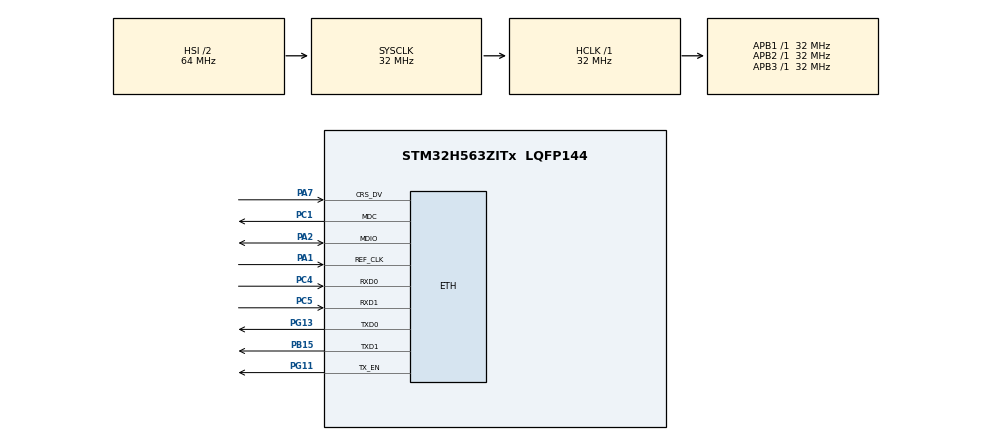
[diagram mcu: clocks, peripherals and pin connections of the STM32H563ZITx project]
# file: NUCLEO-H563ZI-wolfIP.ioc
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BOOTPATH.BootPathName=LEGACY
BOOTPATH.UserSelectedBootPath=LEGACY
CORTEX_M33_NS.userName=CORTEX_M33
ETH.MediaInterface=HAL_ETH_RMII_MODE
Mcu.Family=STM32H5
Mcu.Name=STM32H563ZITx
Mcu.Package=LQFP144
NVIC.ETH_IRQn=true\:0\:0\:false\:false\:true\:true\:true\:true
NVIC.PriorityGroup=NVIC_PRIORITYGROUP_4
PA1.Mode=RMII
PA1.Signal=ETH_REF_CLK
PA2.Mode=RMII
PA2.Signal=ETH_MDIO
PA7.Mode=RMII
PA7.Signal=ETH_CRS_DV
PB15.Mode=RMII
PB15.Signal=ETH_TXD1
PC1.Mode=RMII
PC1.Signal=ETH_MDC
PC4.Mode=RMII
PC4.Signal=ETH_RXD0
PC5.Mode=RMII
PC5.Signal=ETH_RXD1
PG11.Mode=RMII
PG11.Signal=ETH_TX_EN
PG13.Mode=RMII
PG13.Signal=ETH_TXD0
ProjectManager.HeapSize=0x200
ProjectManager.StackSize=0x400
ProjectManager.TargetToolchain=Makefile
RCC.ADCFreq_Value=32000000
RCC.AHBFreq_Value=32000000
RCC.APB1Freq_Value=32000000
RCC.APB1TimFreq_Value=32000000
RCC.APB2Freq_Value=32000000
RCC.APB2TimFreq_Value=32000000
RCC.APB3Freq_Value=32000000
RCC.CSI_VALUE=4000000
RCC.CortexFreq_Value=32000000
RCC.EPOD_VALUE=4000000
RCC.HCLKFreq_Value=32000000
RCC.HSE_VALUE=25000000
RCC.HSI48_VALUE=48000000
RCC.HSI_VALUE=64000000
RCC.LSE_VALUE=32768
RCC.LSIRC_VALUE=32000
RCC.SYSCLKFreq_VALUE=32000000
RCC.USBFreq_Value=48000000
RCC.VCOOutputFreq_Value=516000000
VP_BOOTPATH_VS_BOOTPATH.Mode=BP_Activate
VP_CORTEX_M33_NS_VS_Hclk.Mode=Hclk_Mode
VP_MEMORYMAP_VS_MEMORYMAP.Mode=CurAppReg
VP_PWR_VS_LPOM.Mode=PowerOptimisation
VP_PWR_VS_SECSignals.Mode=Security/Privilege
VP_wolfSSL.I-CUBE-wolfIP_VS_wolfIPJjwolfIP_1.0.0_1.0.0.Mode=wolfIPJjwolfIP
board=custom
wolfSSL.I-CUBE-wolfIP.1.0.0.wolfIPCcwolfIPJjwolfIPJjCore=true
wolfSSL.I-CUBE-wolfIP.1.0.0.wolfIPCcwolfIPJjwolfIPJjHTTP=true

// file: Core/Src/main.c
/* USER CODE BEGIN Header */
/**
  ******************************************************************************
  * @file           : main.c
  * @brief          : Main program body
  ******************************************************************************
  * @attention
  *
  * Copyright (c) 2026 STMicroelectronics.
  * All rights reserved.
  *
  * This software is licensed under terms that can be found in the LICENSE file
  * in the root directory of this software component.
  * If no LICENSE file comes with this software, it is provided AS-IS.
  *
  ******************************************************************************
  */
/* USER CODE END Header */
#include "main.h"
#include "string.h"

/* USER CODE BEGIN Includes */
#include "wolfip.h"
#include "stm32h5_eth.h"
/* USER CODE END Includes */

ETH_TxPacketConfigTypeDef TxConfig;
ETH_DMADescTypeDef  DMARxDscrTab[ETH_RX_DESC_CNT]; /* Ethernet Rx DMA Descriptors */
ETH_DMADescTypeDef  DMATxDscrTab[ETH_TX_DESC_CNT]; /* Ethernet Tx DMA Descriptors */

ETH_HandleTypeDef heth;

/* USER CODE BEGIN PV */
/* wolfIP instance - use static allocation from the library */
static struct wolfIP *ipstack = NULL;

/* IP configuration - static IP for testing */
/* Network: 192.168.0.x (Mac is at 192.168.0.116) */
#define MY_IP      atoip4("192.168.0.200")
#define MY_MASK    atoip4("255.255.255.0")
#define MY_GATEWAY atoip4("192.168.0.1")
/* USER CODE END PV */

void SystemClock_Config(void);
static void MX_GPIO_Init(void);
static void MX_ETH_Init(void);
/* USER CODE BEGIN PFP */
uint64_t wolfip_get_time_ms(void);
uint32_t wolfIP_getrandom(void);
/* USER CODE END PFP */

int main(void)
{

  /* MCU Configuration--------------------------------------------------------*/

  /* Reset of all peripherals, Initializes the Flash interface and the Systick. */
  HAL_Init();

  /* Configure the system clock */
  SystemClock_Config();

  /* Initialize all configured peripherals */
  MX_GPIO_Init();
  MX_ETH_Init();
  /* USER CODE BEGIN 2 */
  /* Initialize wolfIP stack using static allocation */
  wolfIP_init_static(&ipstack);

  /* Use bare-metal Ethernet driver (proven to work) */
  {
    int ret;
    struct wolfIP_ll_dev *ll = wolfIP_getdev(ipstack);
    if (ll != NULL)
    {
      /* Initialize bare-metal Ethernet driver */
      ret = stm32h5_eth_init(ll, NULL);
      (void)ret;  /* ret contains PHY info on success */

      /* Set static IP configuration */
      wolfIP_ipconfig_set(ipstack, MY_IP, MY_MASK, MY_GATEWAY);
    }
  }
  /* USER CODE END 2 */

  /* Infinite loop */
  /* USER CODE BEGIN WHILE */
  uint32_t lastBlink = 0;
  while (1)
  {
    /* USER CODE END WHILE */

    /* USER CODE BEGIN 3 */
    /* Poll wolfIP stack - handles RX, TX, timers, and protocol state machines */
    wolfIP_poll(ipstack, wolfip_get_time_ms());

    /* Blink LED1 (PB0) every 500ms to show the loop is running */
    if ((HAL_GetTick() - lastBlink) >= 500)
    {
      HAL_GPIO_TogglePin(GPIOB, GPIO_PIN_0);
      lastBlink = HAL_GetTick();
    }
  }
  /* USER CODE END 3 */
}

void SystemClock_Config(void)
{
  RCC_OscInitTypeDef RCC_OscInitStruct = {0};
  RCC_ClkInitTypeDef RCC_ClkInitStruct = {0};

  /** Configure the main internal regulator output voltage
  */
  __HAL_PWR_VOLTAGESCALING_CONFIG(PWR_REGULATOR_VOLTAGE_SCALE3);

  while(!__HAL_PWR_GET_FLAG(PWR_FLAG_VOSRDY)) {}

  /** Initializes the RCC Oscillators according to the specified parameters
  * in the RCC_OscInitTypeDef structure.
  */
  RCC_OscInitStruct.OscillatorType = RCC_OSCILLATORTYPE_HSI|RCC_OSCILLATORTYPE_CSI;
  RCC_OscInitStruct.HSIState = RCC_HSI_ON;
  RCC_OscInitStruct.HSIDiv = RCC_HSI_DIV2;
  RCC_OscInitStruct.HSICalibrationValue = RCC_HSICALIBRATION_DEFAULT;
  RCC_OscInitStruct.CSIState = RCC_CSI_ON;
  RCC_OscInitStruct.CSICalibrationValue = RCC_CSICALIBRATION_DEFAULT;
  RCC_OscInitStruct.PLL.PLLState = RCC_PLL_ON;
  RCC_OscInitStruct.PLL.PLLSource = RCC_PLL1_SOURCE_CSI;
  RCC_OscInitStruct.PLL.PLLM = 1;
  RCC_OscInitStruct.PLL.PLLN = 129;
  RCC_OscInitStruct.PLL.PLLP = 2;
  RCC_OscInitStruct.PLL.PLLQ = 2;
  RCC_OscInitStruct.PLL.PLLR = 2;
  RCC_OscInitStruct.PLL.PLLRGE = RCC_PLL1_VCIRANGE_2;
  RCC_OscInitStruct.PLL.PLLVCOSEL = RCC_PLL1_VCORANGE_WIDE;
  RCC_OscInitStruct.PLL.PLLFRACN = 0;
  if (HAL_RCC_OscConfig(&RCC_OscInitStruct) != HAL_OK)
  {
    Error_Handler();
  }

  /** Initializes the CPU, AHB and APB buses clocks
  */
  RCC_ClkInitStruct.ClockType = RCC_CLOCKTYPE_HCLK|RCC_CLOCKTYPE_SYSCLK
                              |RCC_CLOCKTYPE_PCLK1|RCC_CLOCKTYPE_PCLK2
                              |RCC_CLOCKTYPE_PCLK3;
  RCC_ClkInitStruct.SYSCLKSource = RCC_SYSCLKSOURCE_HSI;
  RCC_ClkInitStruct.AHBCLKDivider = RCC_SYSCLK_DIV1;
  RCC_ClkInitStruct.APB1CLKDivider = RCC_HCLK_DIV1;
  RCC_ClkInitStruct.APB2CLKDivider = RCC_HCLK_DIV1;
  RCC_ClkInitStruct.APB3CLKDivider = RCC_HCLK_DIV1;

  if (HAL_RCC_ClockConfig(&RCC_ClkInitStruct, FLASH_LATENCY_1) != HAL_OK)
  {
    Error_Handler();
  }

  /** Configure the programming delay
  */
  __HAL_FLASH_SET_PROGRAM_DELAY(FLASH_PROGRAMMING_DELAY_0);
}

static void MX_ETH_Init(void)
{

   static uint8_t MACAddr[6];

  heth.Instance = ETH;
  MACAddr[0] = 0x00;
  MACAddr[1] = 0x80;
  MACAddr[2] = 0xE1;
  MACAddr[3] = 0x00;
  MACAddr[4] = 0x00;
  MACAddr[5] = 0x00;
  heth.Init.MACAddr = &MACAddr[0];
  heth.Init.MediaInterface = HAL_ETH_RMII_MODE;
  heth.Init.TxDesc = DMATxDscrTab;
  heth.Init.RxDesc = DMARxDscrTab;
  heth.Init.RxBuffLen = 1524;

  if (HAL_ETH_Init(&heth) != HAL_OK)
  {
    Error_Handler();
  }

  memset(&TxConfig, 0 , sizeof(ETH_TxPacketConfigTypeDef));
  TxConfig.Attributes = ETH_TX_PACKETS_FEATURES_CSUM | ETH_TX_PACKETS_FEATURES_CRCPAD;
  TxConfig.ChecksumCtrl = ETH_CHECKSUM_IPHDR_PAYLOAD_INSERT_PHDR_CALC;
  TxConfig.CRCPadCtrl = ETH_CRC_PAD_INSERT;

}

static void MX_GPIO_Init(void)
{

  /* GPIO Ports Clock Enable */
  __HAL_RCC_GPIOC_CLK_ENABLE();
  __HAL_RCC_GPIOA_CLK_ENABLE();
  __HAL_RCC_GPIOB_CLK_ENABLE();
  __HAL_RCC_GPIOG_CLK_ENABLE();

  /* USER CODE BEGIN MX_GPIO_Init_2 */
  /* Configure LED1 pin (PB0) for status indication */
  {
    GPIO_InitTypeDef GPIO_InitStruct = {0};
    GPIO_InitStruct.Pin = GPIO_PIN_0;
    GPIO_InitStruct.Mode = GPIO_MODE_OUTPUT_PP;
    GPIO_InitStruct.Pull = GPIO_NOPULL;
    GPIO_InitStruct.Speed = GPIO_SPEED_FREQ_LOW;
    HAL_GPIO_Init(GPIOB, &GPIO_InitStruct);
    HAL_GPIO_WritePin(GPIOB, GPIO_PIN_0, GPIO_PIN_RESET);
  }
  /* USER CODE END MX_GPIO_Init_2 */
}

/* USER CODE BEGIN 4 */
/**
 * @brief Get the current system time in milliseconds
 * Required by wolfIP for timeouts and timers
 */
uint64_t wolfip_get_time_ms(void)
{
    return (uint64_t)HAL_GetTick();
}

/**
 * @brief Generate a random number for wolfIP
 * Required by the wolfIP stack for various operations
 */
uint32_t wolfIP_getrandom(void)
{
    static uint32_t seed = 12345;
    seed = seed * 1103515245 + 12345;
    return (seed >> 16) ^ HAL_GetTick();
}
/* USER CODE END 4 */

void Error_Handler(void)
{
  __disable_irq();
  while (1)
  {
  }
}
